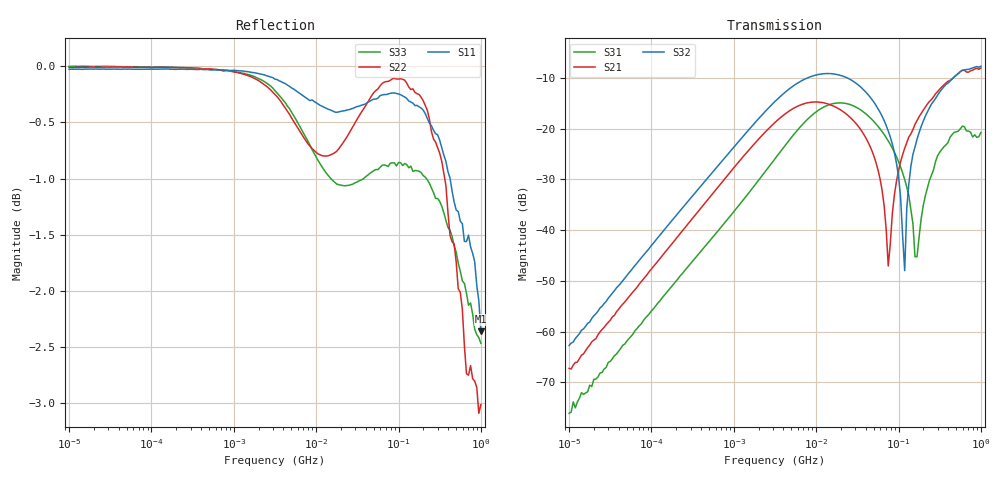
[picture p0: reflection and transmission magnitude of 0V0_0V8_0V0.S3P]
!Keysight Technologies,E5080A,MY55100144,A.11.70.03
!Date: Monday, November 13, 2017 17:23:59
!Correction: S11(Full 3 Port(1,2,3))
!S12(Full 3 Port(1,2,3))
!S13(Full 3 Port(1,2,3))
!S21(Full 3 Port(1,2,3))
!S22(Full 3 Port(1,2,3))
!S23(Full 3 Port(1,2,3))
!S31(Full 3 Port(1,2,3))
!S32(Full 3 Port(1,2,3))
!S33(Full 3 Port(1,2,3))
!S3P File: Measurements: <S11,S12,S13>,
!<S21,S22,S23>,
!<S31,S32,S33>:Log Frequency Sweep
# Hz S  RI  R 50
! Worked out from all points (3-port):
!   201 points, 10 kHz to 1 GHz, reference 50 ohm
!   strongest paths, dB at 10 kHz, 177.8 kHz, 3.162 MHz, 56.23 MHz, 1 GHz:
!     S32: -62.8, -38.1, -14.6, -16.0, -7.7
!     S21: -67.3, -42.7, -18.7, -28.1, -8.0
!     S31: -76.1, -51.0, -25.9, -19.5, -20.7
!   lowest |S11| = -2.4 dB at 1 GHz (marker M1), VSWR 7.41, Z = 370 + j10.6 ohm
!   |S11| at or under -10 dB: nowhere
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10000  0.9969 -0.00171  -1.59e-05 0.000428  7.95e-06 0.000143
       -2.84e-06 0.000433  0.9988 -0.00365  5.55e-06 0.000704
       1.14e-05 0.000156  7.8e-07 0.000728  0.9999 -0.00259
3162278  0.8481 -0.5046  0.0708 0.0913  0.0108 0.0494
         0.0707 0.0913  0.6304 -0.7392  0.1014 0.1558
         0.0106 0.0495  0.1016 0.1559  0.9353 -0.2762
1.188502e7  -0.0273 -0.9595  0.18 -0.0196  0.1411 0.0771
            0.1801 -0.0199  -0.4527 -0.7922  0.3463 0.033
            0.1413 0.077  0.3463 0.0331  0.5546 -0.7109
4.731513e7  -0.9036 -0.3414  0.0275 -0.0547  0.0775 -0.097
            0.0274 -0.0547  -0.9614 -0.1323  0.0986 -0.1689
            0.0773 -0.097  0.0986 -0.1688  -0.5472 -0.7112
7.498942e7  -0.9681 -0.0875  0.00426 -0.00133  0.0219 -0.0727
            0.00423 -0.00134  -0.9776 0.1176  0.0176 -0.0936
            0.0218 -0.0727  0.0177 -0.0934  -0.7972 -0.423
1.188502e8  -0.9555 0.161  0.0189 0.0613  0.000407 -0.0316
            0.0189 0.0614  -0.9044 0.3925  0.00128 0.00377
            0.000361 -0.0316  0.00128 0.00378  -0.8997 -0.0994
1.584893e8  -0.9032 0.327  0.05 0.0986  0.00205 -0.0052
            0.05 0.0987  -0.7902 0.5687  0.0278 0.06
            0.00202 -0.00507  0.0279 0.06  -0.8926 0.1055
1.883649e8  -0.8573 0.4274  0.0832 0.1149  0.0117 0.00583
            0.0833 0.1148  -0.6888 0.681  0.0551 0.0895
            0.0116 0.00587  0.055 0.0895  -0.8666 0.2307
5.623413e8  0.0999 0.8473  0.3214 -0.1733  0.0663 -0.0742
            0.3216 -0.1737  0.5635 0.5586  0.3364 -0.1422
            0.0663 -0.0744  0.3362 -0.142  -0.0624 0.8082
1e9  0.7621 0.006  -0.0937 -0.386  -0.0566 -0.0721
     -0.0942 -0.386  0.5909 -0.3885  -0.0454 -0.4115
     -0.0567 -0.0722  -0.0451 -0.4116  0.6864 0.3094
